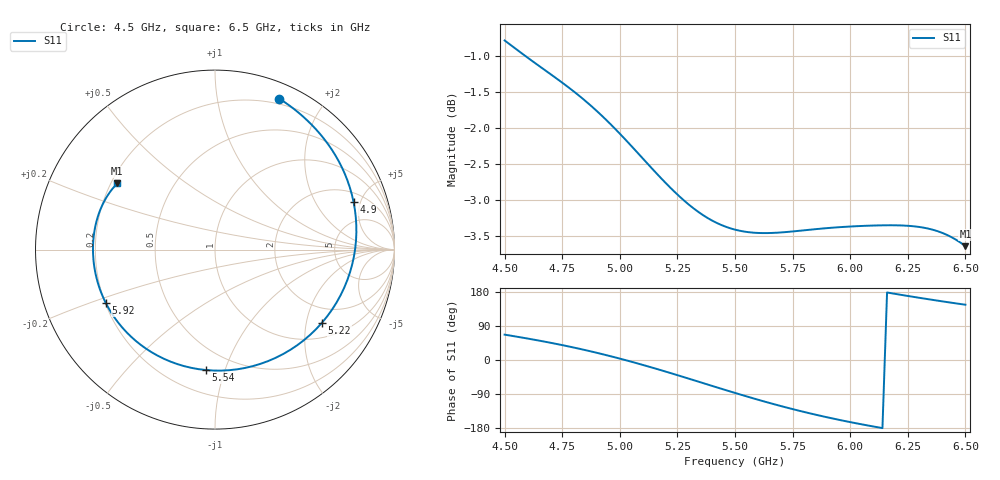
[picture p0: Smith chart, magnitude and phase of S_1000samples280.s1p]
! TOUCHSTONE file generated by CST MICROWAVE STUDIO
! Date and time: Thu Oct 27 15:01:23 2022
! Project name: L.cst
! Parameters = {Di=1.27; Epsilon_r=1.56; InnerDiameter=1.27; Length=2; Lf=10; Lg=60; OuterConductorThickness=0.2921; OuterDiameter=3.6; Wf=3; Wp=41.2; de=1.5; df=6.8; g=0.8; gx=2.81651; gy=0.771128; h=2.34; hf=1.524; px=10.8433; py=8.88751; w=9.7; wx=8.02681; wy=8.11639}
! Header version: 2018
! Port assignment regex: !\s*Touchstone port\s*([0-9]+)\s*=\s*(CST MWS port|CST DS port)\s*([0-9]+|Zmin|Zmax)\s*\(\"(.*)\"\)(\s*mode\s*([0-9]+))?.*
! Touchstone port assignment:
! Touchstone port 1 = CST MWS port 1 ("")
# GHz S DB R 50
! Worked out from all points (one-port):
!   101 points, 4.5 GHz to 6.5 GHz, reference 50 ohm
!   lowest |S11| = -3.6 dB at 6.5 GHz (marker M1), VSWR 4.84, Z = 11.3 + j14.6 ohm
!   |S11| at or under -10 dB: nowhere
!   S11 on the Smith chart (normalised r, x): 4.5 GHz: 0.15, +1.50; 4.9 GHz: 2.72, +4.33; 5.22 GHz: 1.45, -2.47; 5.54 GHz: 0.35, -0.87; 5.92 GHz: 0.20, -0.22; 6.5 GHz: 0.23, +0.29
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4.5  -0.78 66.9
4.64  -1.11 52.2
4.76  -1.39 38.1
4.84  -1.59 27.5
4.9  -1.76 19.0
4.96  -1.95 10.0
5  -2.08 3.7
5.06  -2.28 -6.2
5.1  -2.42 -13.0
5.16  -2.63 -23.6
5.22  -2.83 -34.4
5.26  -2.95 -41.9
5.32  -3.12 -53.1
5.38  -3.25 -64.4
5.44  -3.35 -75.7
5.5  -3.41 -86.9
5.54  -3.44 -94.2
5.58  -3.45 -101.3
5.64  -3.46 -111.7
5.7  -3.45 -121.6
5.76  -3.43 -131.1
5.84  -3.41 -142.9
5.92  -3.39 -153.8
6  -3.37 -163.9
6.12  -3.35 -177.6
6.26  -3.36 168.0
6.38  -3.43 156.6
6.5  -3.64 145.9
